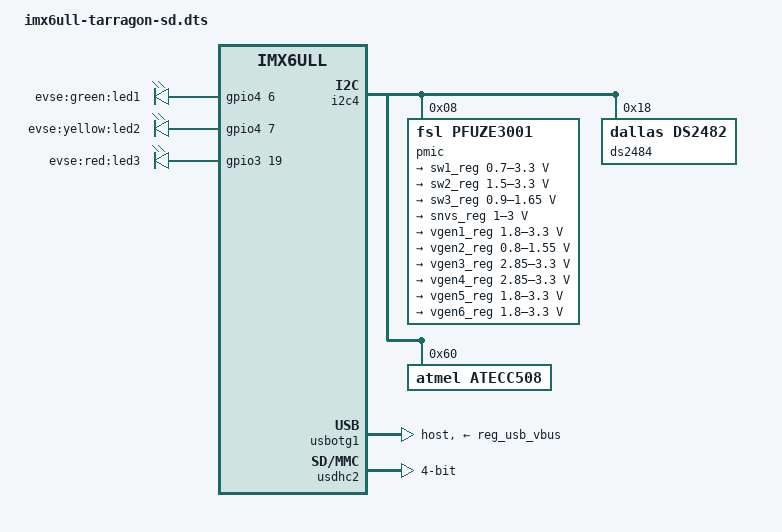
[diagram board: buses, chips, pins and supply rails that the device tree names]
#include "imx6ull-tarragon.dtsi"

/ {
	leds {
		compatible = "gpio-leds";
		pinctrl-names = "default";
		pinctrl-0 = <&pinctrl_debug_leds>;

		led1 {			/* Boot process */
			label = "evse:green:led1";
			gpios = <&gpio4 6 GPIO_ACTIVE_HIGH>;
			linux,default-trigger = "timer";
		};

		led2 {			/* CAN traffic */
			label = "evse:yellow:led2";
			gpios = <&gpio4 7 GPIO_ACTIVE_HIGH>;
			linux,default-trigger = "can0-rx";
		};

		led3 {			/* Heartbeat */
			label = "evse:red:led3";
			gpios = <&gpio3 19 GPIO_ACTIVE_HIGH>;
			linux,default-trigger = "heartbeat";
		};
	};
};

&i2c4 {
	pmic: pfuze3001@08 {
		compatible = "fsl,pfuze3001";
		reg = <0x08>;

		regulators {
			sw1_reg: sw1 {
				regulator-name = "SW1";
				regulator-min-microvolt = <700000>;
				regulator-max-microvolt = <3300000>;
				regulator-boot-on;
				regulator-always-on;
			};

			sw2_reg: sw2 {
				regulator-name = "SW2";
				regulator-min-microvolt = <1500000>;
				regulator-max-microvolt = <3300000>;
				regulator-boot-on;
				regulator-always-on;
			};

			sw3_reg: sw3 {
				regulator-name = "SW3";
				regulator-min-microvolt = <900000>;
				regulator-max-microvolt = <1650000>;
				regulator-boot-on;
				regulator-always-on;
			};

			snvs_reg: vsnvs {
				regulator-name = "VSNVS";
				regulator-min-microvolt = <1000000>;
				regulator-max-microvolt = <3000000>;
				regulator-boot-on;
				regulator-always-on;
			};

			vgen1_reg: vldo1 {
				regulator-name = "VLDO1";
				regulator-min-microvolt = <1800000>;
				regulator-max-microvolt = <3300000>;
				regulator-always-on;
			};

			vgen2_reg: vldo2 {
				regulator-name = "VLDO2";
				regulator-min-microvolt = <800000>;
				regulator-max-microvolt = <1550000>;
				regulator-always-on;
			};

			vgen3_reg: vccsd {
				regulator-name = "VCCSD";
				regulator-min-microvolt = <2850000>;
				regulator-max-microvolt = <3300000>;
				regulator-always-on;
			};

			vgen4_reg: v33 {
				regulator-name = "V33";
				regulator-min-microvolt = <2850000>;
				regulator-max-microvolt = <3300000>;
				regulator-always-on;
			};

			vgen5_reg: vldo3 {
				regulator-name = "VLDO3";
				regulator-min-microvolt = <1800000>;
				regulator-max-microvolt = <3300000>;
				regulator-always-on;
			};

			vgen6_reg: vldo4 {
				regulator-name = "VLDO4";
				regulator-min-microvolt = <1800000>;
				regulator-max-microvolt = <3300000>;
				regulator-always-on;
			};
		};
	};

	ds2484@18 {
		compatible = "dallas,ds2482"; // FIXME
		reg = <0x18>;
	};

	atecc508@60 {
		compatible = "atmel,atecc508"; // FIXME
		reg = <0x60>;
	};
};

&usbotg1 {
	dr_mode = "host";
	vbus-supply = <&reg_usb_vbus>;
	status = "okay";
};

&usdhc2 {
	pinctrl-names = "default";
	pinctrl-0 = <&pinctrl_sd>;
	bus-width = <4>;
	broken-cd;
	status = "okay";
};
